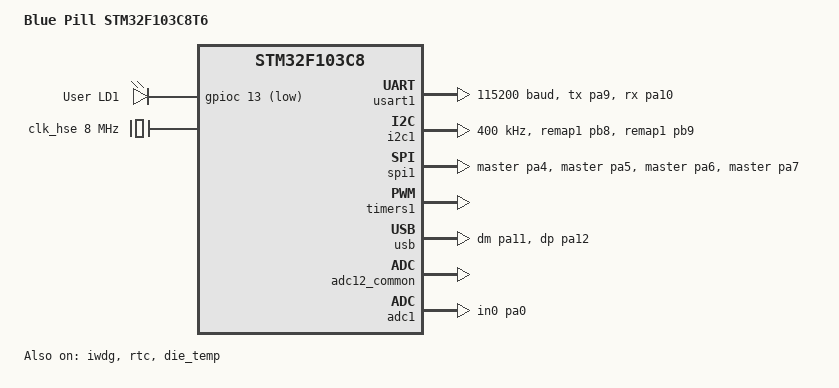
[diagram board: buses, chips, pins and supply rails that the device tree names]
/*
 * Blue Pill / STM32F103C8T6 板级真相（kharon-boards）。
 *
 * 与上游 others/stm32f103_mini 的区别：
 *   - SoC 是 stm32f103x8（64 KB flash / 20 KB SRAM），不是 xE（256 KB / 48 KB）；
 *   - LED 仍是 PC13 低电平点亮，console 仍是 USART1 PA9/PA10 @115200。
 * 容量直接由 X8 dtsi 提供，APP 不再覆盖 &flash0 / &sram0。
 */

/dts-v1/;
#include <st/f1/stm32f103X8.dtsi>
#include <st/f1/stm32f103c(8-b)tx-pinctrl.dtsi>

/ {
	compatible = "st,stm32f103c8";
	model = "Blue Pill STM32F103C8T6";

	chosen {
		zephyr,console = &usart1;
		zephyr,shell-uart = &usart1;
		zephyr,sram = &sram0;
		zephyr,flash = &flash0;
	};

	leds {
		compatible = "gpio-leds";

		green_led_1: led_1 {
			gpios = <&gpioc 13 GPIO_ACTIVE_LOW>;
			label = "User LD1";
		};
	};

	aliases {
		led0 = &green_led_1;
		watchdog0 = &iwdg;
		die-temp0 = &die_temp;
	};
};

&clk_lsi {
	status = "okay";
};

&clk_hse {
	clock-frequency = <DT_FREQ_M(8)>;
	status = "okay";
};

&pll {
	mul = <9>;
	clocks = <&clk_hse>;
	status = "okay";
};

&rcc {
	clocks = <&pll>;
	clock-frequency = <DT_FREQ_M(72)>;
	ahb-prescaler = <1>;
	apb1-prescaler = <2>;
	apb2-prescaler = <1>;
	/* usbpre 不设：USB 时钟 = 72 / 1.5 = 48 MHz */
};

&usart1 {
	pinctrl-0 = <&usart1_tx_pa9 &usart1_rx_pa10>;
	pinctrl-names = "default";
	current-speed = <115200>;
	status = "okay";
};

&i2c1 {
	pinctrl-0 = <&i2c1_scl_remap1_pb8 &i2c1_sda_remap1_pb9>;
	pinctrl-names = "default";
	clock-frequency = <I2C_BITRATE_FAST>;
	status = "okay";
};

&spi1 {
	pinctrl-0 = <&spi1_nss_master_pa4 &spi1_sck_master_pa5
		     &spi1_miso_master_pa6 &spi1_mosi_master_pa7>;
	pinctrl-names = "default";
	status = "okay";
};

&iwdg {
	status = "okay";
};

&timers1 {
	st,prescaler = <10000>;
	status = "okay";

	pwm1: pwm {
		pinctrl-0 = <&tim1_ch1_pwm_out_pa8>;
		pinctrl-names = "default";
		status = "okay";
	};
};

zephyr_udc0: &usb {
	pinctrl-0 = <&usb_dm_pa11 &usb_dp_pa12>;
	pinctrl-names = "default";
	status = "okay";
};

&rtc {
	clocks = <&rcc STM32_CLOCK(APB1, 28)>,
		 <&rcc STM32_SRC_LSI RTC_SEL(2)>;
	status = "okay";
};

&adc12_common {
	status = "okay";
};

&adc1 {
	pinctrl-0 = <&adc1_in0_pa0>;
	pinctrl-names = "default";
	status = "okay";
};

&die_temp {
	status = "okay";
};
